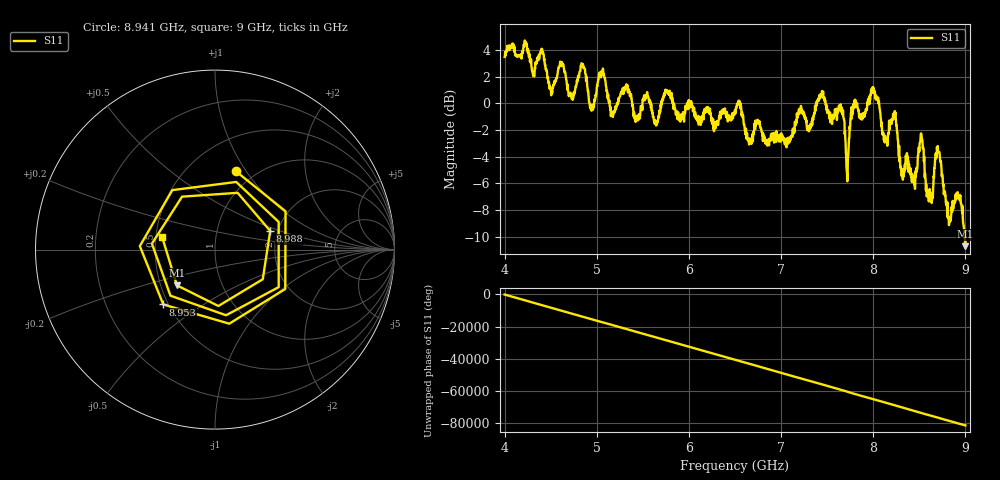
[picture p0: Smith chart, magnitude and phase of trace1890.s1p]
! Created with skrf 1.8.0 (http://scikit-rf.org).
# Hz S RI R 50.0
!freq ReS11 ImS11
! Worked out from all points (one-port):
!   1601 points, 4 GHz to 9 GHz, reference 50 ohm
!   lowest |S11| = -10.7 dB at 8.997 GHz (marker M1), VSWR 1.82, Z = 30.3 - j13.2 ohm
!   |S11| at or under -10 dB: 8.99021 GHz to end of sweep
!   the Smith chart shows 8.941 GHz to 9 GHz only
!   S11 on the Smith chart (normalised r, x): 8.941 GHz: 0.82, +0.90; 8.953 GHz: 0.47, -0.35; 8.988 GHz: 1.82, +0.42; 9 GHz: 0.54, +0.08
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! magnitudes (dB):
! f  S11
! 4 GHz  3.5
! 4.509 GHz  0.8
! 4.625 GHz  2.9
! 4.722 GHz  0.6
! 4.847 GHz  2.9
! 4.944 GHz  -0.6
! 5.05 GHz  2.3
! 5.166 GHz  -0.9
! 5.25 GHz  0.5
! 5.875 GHz  -1.2
! 6.5 GHz  -0.5
! 7.125 GHz  -2.1
! 7.438 GHz  0.6
! 7.653 GHz  -0.6
! 7.716 GHz  -5.3
! 7.75 GHz  -1.7
! 8 GHz  1.2
! 8.375 GHz  -4.1
! 8.438 GHz  -5.7
! 8.522 GHz  -2.3
! 8.622 GHz  -7.0
! 8.703 GHz  -3.6
! 8.822 GHz  -9.1
! 8.941 GHz  -6.9
! 8.953 GHz  -7.5
! 8.988 GHz  -9.8
! 8.997 GHz  -10.7
! 9 GHz  -10.4
